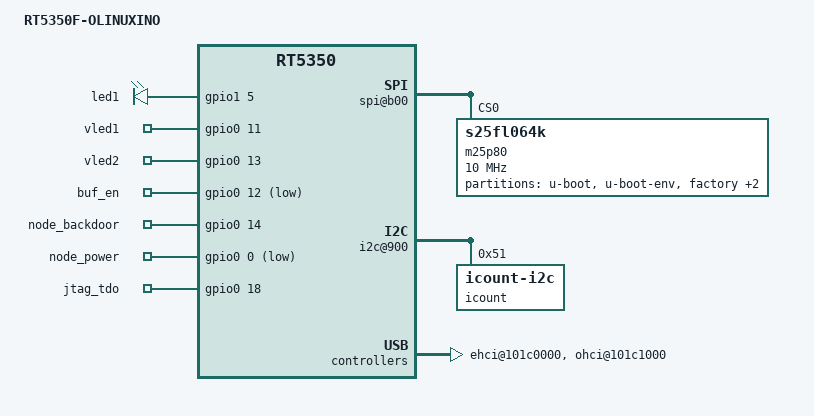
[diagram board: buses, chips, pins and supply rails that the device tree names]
/dts-v1/;

/include/ "rt5350.dtsi"

/ {
        compatible = "RT5350F-OLINUXINO", "ralink,rt5350-soc";
        model = "RT5350F-OLINUXINO";

        palmbus@10000000 {
                spi@b00 {
                        status = "okay";
                        m25p80@0 {
                                #address-cells = <1>;
                                #size-cells = <1>;
                                compatible = "s25fl064k";
                                reg = <0 0>;
                                linux,modalias = "m25p80", "s25fl064k";
                                spi-max-frequency = <10000000>;

                                partition@0 {
                                        label = "u-boot";
                                        reg = <0x0 0x30000>;
                                        read-only;
                                };

                                partition@30000 {
                                        label = "u-boot-env";
                                        reg = <0x30000 0x10000>;
                                        read-only;
                                };

                                factory: partition@40000 {
                                        label = "factory";
                                        reg = <0x40000 0x10000>;
                                        read-only;
                                };

                                partition@40004 {
                                        label = "mac-address";
                                        reg = <0x40004 0x6>;
                                };

                                partition@50000 {
                                        label = "firmware";
                                        reg = <0x50000 0x7b0000>;
                                };
                        };
                };
                gpio1: gpio@660 {
                        status = "okay";
                };

                i2c@900 {
                        status = "okay";

                        icount@51 {
                          compatible = "icount-i2c";
                          reg = <0x51>;
                        };
                };
        };

        pinctrl {
                state_default: pinctrl0 {
                        gpio {
                                ralink,group = "jtag";
                                ralink,function = "gpio";
                        };
		                  	uartf_pins: artf {
		                  		ralink,group = "uartf";
		                  		ralink,function = "gpio uartf";
		                  	};
                };
        };

        gpio-leds {
          compatible = "gpio-leds";
          led1 {
            gpios = <&gpio1 5 0>;
            linux,default-trigger = "none";
            default-state = "off";
            panic-indicator;
          };
        };

        ethernet@10100000 {
                mtd-mac-address = <&factory 0x4>;
        };

        esw@10110000 {
                ralink,portmap = <0x2f>;
                ralink,led_polarity = <0x17>;
        };

        wmac@10180000 {
                ralink,mtd-eeprom = <&factory 0>;
                ralink,led-polarity = <1>;
        };

        ehci@101c0000 {
                status = "okay";
        };

        ohci@101c1000 {
                status = "okay";
        };

        gpio-export {
          compatible = "gpio-export";
          #size-cells = <0>;

          vled1 {
            gpio-export,name = "vled1";
            gpio-export,direction_may_change; /* The GPIO can be also used as a VButton. */
            gpios = <&gpio0 11 0>;
          };

          vled2 {
            gpio-export,name = "vled2";
            gpio-export,direction_may_change; /* The GPIO can be also used as a VButton. */
            gpios = <&gpio0 13 0>;
          };

          buf_en {
            gpio-export,name = "buf_en";
            gpio-export,output = <1>;
            gpios = <&gpio0 12 1>;
          };

          node_backdoor {
            gpio-export,name = "node_backdoor";
            gpio-export,output = <1>;
            gpios = <&gpio0 14 0>;
          };

          /* openocd sysfsgpio interface cannot handle named gpio.
          node_reset {
            gpio-export,name = "node_reset";
            gpio-export,output = <0>;
            gpios = <&gpio0 21 0>;
          };
          */

          node_power {
            gpio-export,name = "node_power";
            gpio-export,output = <1>;
            gpios = <&gpio0 0 1>;
          };

          jtag_tdo {
            gpio-export,name = "jtag_tdo";
            gpio-export,direction_may_change;
            gpios = <&gpio0 18 0>;
          };
        };

};
